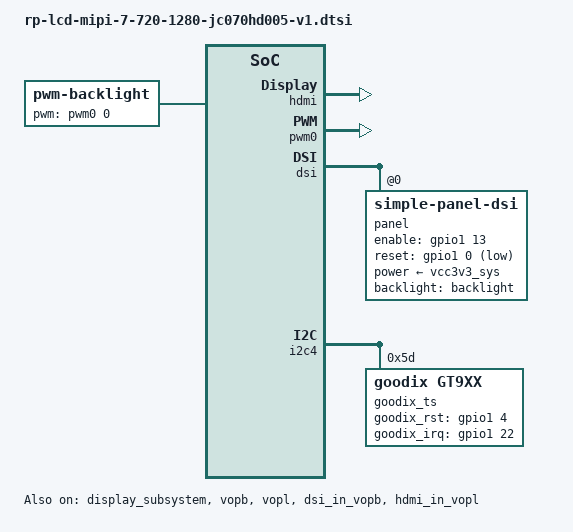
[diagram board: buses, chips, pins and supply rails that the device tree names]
/ {
	
	backlight: backlight {
		status = "okay";
		compatible = "pwm-backlight";
		pwms = <&pwm0 0 25000 0>;
		brightness-levels = <
			  0   1   2   3   4   5   6   7
			  8   9  10  11  12  13  14  15
			 16  17  18  19  20  21  22  23
			 24  25  26  27  28  29  30  31
			 32  33  34  35  36  37  38  39
			 40  41  42  43  44  45  46  47
			 48  49  50  51  52  53  54  55
			 56  57  58  59  60  61  62  63
			 64  65  66  67  68  69  70  71
			 72  73  74  75  76  77  78  79
			 80  81  82  83  84  85  86  87
			 88  89  90  91  92  93  94  95
			 96  97  98  99 100 101 102 103
			104 105 106 107 108 109 110 111
			112 113 114 115 116 117 118 119
			120 121 122 123 124 125 126 127
			128 129 130 131 132 133 134 135
			136 137 138 139 140 141 142 143
			144 145 146 147 148 149 150 151
			152 153 154 155 156 157 158 159
			160 161 162 163 164 165 166 167
			168 169 170 171 172 173 174 175
			176 177 178 179 180 181 182 183
			184 185 186 187 188 189 190 191
			192 193 194 195 196 197 198 199
			200 201 202 203 204 205 206 207
			208 209 210 211 212 213 214 215
			216 217 218 219 220 221 222 223
			224 225 226 227 228 229 230 231
			232 233 234 235 236 237 238 239
			240 241 242 243 244 245 246 247
			248 249 250 251 252 253 254 255>;
		default-brightness-level = <255>;
	};
};


&hdmi {
	#address-cells = <1>;
	#size-cells = <0>;
	#sound-dai-cells = <0>;
	ddc-i2c-scl-high-time-ns = <9625>;
	ddc-i2c-scl-low-time-ns = <10000>;
	status = "okay";
};

&pwm0 {
	status = "okay";
};


&display_subsystem {
	status = "okay";

	ports = <&vopb_out>, <&vopl_out>;
	logo-memory-region = <&drm_logo>;

	route {
		route_hdmi: route-hdmi {
			status = "okay";
			logo,uboot = "logo.bmp";
			logo,kernel = "logo_kernel.bmp";
			logo,mode = "center";
			charge_logo,mode = "center";
			connect = <&vopl_out_hdmi>;
		};

		route_dsi: route-dsi {

			status = "okay";
			// status = "disabled";
			logo,uboot = "logo.bmp";
			logo,kernel = "logo_kernel.bmp";
			logo,mode = "center";
			charge_logo,mode = "center";
			connect = <&vopb_out_dsi>;
		};

		route_dsi1: route-dsi1 {
			status = "disabled";
			logo,uboot = "logo.bmp";
			logo,kernel = "logo_kernel.bmp";
			logo,mode = "center";
			charge_logo,mode = "center";
			connect = <&vopl_out_dsi1>;
		};

		route_edp: route-edp {
			status = "disabled";
			logo,uboot = "logo.bmp";
			logo,kernel = "logo_kernel.bmp";
			logo,mode = "center";
			charge_logo,mode = "center";
			connect = <&vopb_out_edp>;
		};
	};
};

&dsi {
        status = "okay";
        rockchip,lane-rate = <480>;

        panel {
                compatible ="simple-panel-dsi";
                status = "okay";
                reg = <0>;
                power-supply = <&vcc3v3_sys>;
                backlight = <&backlight>;
                cmd_later_reset = <0>;
                enable-gpios = <&gpio1 13 GPIO_ACTIVE_HIGH>;
                reset-gpios  = <&gpio1 0 GPIO_ACTIVE_LOW>;
                dsi,flags = <(MIPI_DSI_MODE_VIDEO | MIPI_DSI_MODE_VIDEO_BURST |
                // MIPI_DSI_MODE_VIDEO_SYNC_PULSE)>;
                MIPI_DSI_MODE_LPM | MIPI_DSI_MODE_EOT_PACKET)>;	/** 7inch 720x1280 must this mode */
                dsi,format = <MIPI_DSI_FMT_RGB888>;
                //		bus-format = <MEDIA_BUS_FMT_RGB666_1X24>;
                dsi,lanes = <4>;
                reset-delay-ms = <100>;
                init-delay-ms = <100>;
                enable-delay-ms = <120>;
                disable-delay-ms = <50>;
                unprepare-delay-ms = <20>;
                
                width-mm = <68>;
                height-mm = <121>;

               panel-init-sequence = [
                        39 00 02 E0 00
                        39 00 02 E1 93
                        39 00 02 E2 65
                        39 00 02 E3 F8
                        39 00 02 80 03
                        39 00 02 E0 04
                        39 00 02 2D 03
                        39 00 02 E0 00
                        39 00 02 70 10
                        39 00 02 71 13
                        39 00 02 72 06
                        39 00 02 75 03
                                                            
                        39 00 02 E0 01
                        //39 00 02 4A 30
                        39 00 02 00 00
                        39 00 02 01 A0
                        39 00 02 03 00
                        39 00 02 04 A0
                        39 00 02 0A 07
                        39 00 02 0C 74
                        39 00 02 17 00
                        39 00 02 18 D7
                        39 00 02 19 01
                        39 00 02 1A 00
                        39 00 02 1B D7
                        39 00 02 1C 01
                        39 00 02 1F 74
                        39 00 02 20 19
                        39 00 02 21 19
                        39 00 02 22 0E
                        39 00 02 27 43
                                                            
                        39 00 02 37 09
                        39 00 02 38 04
                        39 00 02 39 08
                        39 00 02 3A 18
                        39 00 02 3B 18
                        39 00 02 3C 72
                        39 00 02 3E FF
                        39 00 02 3E FF
                        39 00 02 3F FF
                        39 00 02 40 04
                        39 00 02 41 A0
                        39 00 02 43 08
                        39 00 02 44 07
                        39 00 02 45 30
                        39 00 02 55 01
                        39 00 02 56 01
                        39 00 02 57 65
                        39 00 02 58 0A
                        39 00 02 59 0A
                        39 00 02 5A 28
                        39 00 02 5B 0F
                                                            
                        39 00 02 5D 7C
                        39 00 02 5E 5F
                        39 00 02 5F 4D
                        39 00 02 60 3F
                        39 00 02 61 39
                        39 00 02 62 29
                        39 00 02 63 2B
                        39 00 02 64 12
                        39 00 02 65 28
                        39 00 02 66 24
                        39 00 02 67 22
                        39 00 02 68 3E
                        39 00 02 69 2C
                        39 00 02 6A 33
                        39 00 02 6B 26
                        39 00 02 6C 23
                        39 00 02 6D 18
                        39 00 02 6E 09
                        39 00 02 6F 00
                        39 00 02 70 7C
                        39 00 02 71 5F
                        39 00 02 72 4D
                        39 00 02 73 3F
                        39 00 02 74 39
                        39 00 02 75 29
                        39 00 02 76 2B
                        39 00 02 77 12
                        39 00 02 78 28
                        39 00 02 79 24
                        39 00 02 7A 22
                        39 00 02 7B 3E
                        39 00 02 7C 2C
                        39 00 02 7D 33
                        39 00 02 7E 26
                        39 00 02 7F 23
                        39 00 02 80 18
                        39 00 02 81 09
                        39 00 02 82 00
                                                            
                        39 00 02 E0 02
                        39 00 02 00 37
                        39 00 02 01 17
                        39 00 02 02 0A
                        39 00 02 03 06
                        39 00 02 04 08
                        39 00 02 05 04
                        39 00 02 06 00
                        39 00 02 07 1F
                        39 00 02 08 1F
                        39 00 02 09 1F
                        39 00 02 0A 1F
                        39 00 02 0B 1F
                        39 00 02 0C 1F
                        39 00 02 0D 1F
                        39 00 02 0E 1F
                        39 00 02 0F 1F
                        39 00 02 10 3F
                        39 00 02 11 1F
                        39 00 02 12 1F
                        39 00 02 13 1E
                        39 00 02 14 10
                        39 00 02 15 1F
                                                            
                        39 00 02 16 37
                        39 00 02 17 17
                        39 00 02 18 0B
                        39 00 02 19 07
                        39 00 02 1A 09
                        39 00 02 1B 05
                        39 00 02 1C 01
                        39 00 02 1D 1F
                        39 00 02 1E 1F
                        39 00 02 1F 1F
                        39 00 02 20 1F
                        39 00 02 21 1F
                        39 00 02 22 1F
                        39 00 02 23 1F
                        39 00 02 24 1F
                        39 00 02 25 1F
                        39 00 02 26 1F
                        39 00 02 27 1F
                        39 00 02 28 1F
                        39 00 02 29 1E
                        39 00 02 2A 11
                        39 00 02 2B 1F
                        39 00 02 2C 37
                        39 00 02 2D 17
                        39 00 02 2E 05
                        39 00 02 2F 09
                        39 00 02 30 07
                        39 00 02 31 0B
                        39 00 02 32 11
                        39 00 02 33 1F
                        39 00 02 34 1F
                        39 00 02 35 1F
                        39 00 02 36 1F
                        39 00 02 37 1F
                        39 00 02 38 1F
                        39 00 02 39 1F
                        39 00 02 3A 1F
                        39 00 02 3B 1F
                        39 00 02 3C 3F
                        39 00 02 3D 1F
                        39 00 02 3E 1E
                        39 00 02 3F 1F
                        39 00 02 40 01
                                                            
                        39 00 02 41 1F
                        39 00 02 42 38
                        39 00 02 43 18
                        39 00 02 44 04
                        39 00 02 45 08
                        39 00 02 46 06
                        39 00 02 47 0A
                        39 00 02 48 10
                        39 00 02 49 1F
                        39 00 02 4A 1F
                        39 00 02 4B 1F
                        39 00 02 4C 1F
                        39 00 02 4D 1F
                        39 00 02 4E 1F
                        39 00 02 4F 1F
                        39 00 02 50 1F
                        39 00 02 51 1F
                        39 00 02 52 1F
                        39 00 02 53 1F
                        39 00 02 54 1E
                        39 00 02 55 1F
                        39 00 02 56 00
                        39 00 02 57 1F
                        39 00 02 58 10
                        39 00 02 59 00
                        39 00 02 5A 00
                        39 00 02 5B 10
                        39 00 02 5C 01
                        39 00 02 5D 50
                        39 00 02 5E 01
                        39 00 02 5F 02
                        39 00 02 60 30
                        39 00 02 61 01
                        39 00 02 62 02
                        39 00 02 63 06
                        39 00 02 64 6A
                        39 00 02 65 55
                        39 00 02 66 08
                        39 00 02 67 73
                        39 00 02 68 05
                        39 00 02 69 08
                        39 00 02 6A 6E
                        39 00 02 6B 00
                        39 00 02 6C 00
                        39 00 02 6D 00
                        39 00 02 6E 00
                        39 00 02 6F 88
                        39 00 02 70 00
                        39 00 02 71 00
                        39 00 02 72 06
                        39 00 02 73 7B
                        39 00 02 74 00
                        39 00 02 75 80
                        39 00 02 76 00
                        39 00 02 77 0D
                        39 00 02 78 18
                        39 00 02 79 00
                        39 00 02 7A 00
                        39 00 02 7B 00
                        39 00 02 7C 00
                        39 00 02 7D 03
                        39 00 02 7E 7B
                        39 00 02 E0 04
                        39 00 02 04 01
                        39 00 02 0E 38
                        39 00 02 2B 2B
                        39 00 02 2E 44
                        39 00 02 E0 00
                        39 00 02 E6 02
                        39 00 02 E6 02
                        //39 00 02 36 00
                        39 C8 02 11 00
                        39 C8 02 29 00
                        05 78 01 11//delay 120MS
                        05 78 01 29
                        //39 C8 02 35 00
                ];

                panel-exit-sequence = [
                        05 78 01 28
                        05 78 01 10
                ];

                display-timings {
                        native-mode = <&timing0>;
                        timing0: timing0 {
                                clock-frequency = <70000000>;
                                hactive = <720>;
                                vactive = <1280>;
                                hback-porch = <34>;
                                hfront-porch = <34>;
                                vback-porch = <6>;
                                vfront-porch = <20>;
                                hsync-len = <24>;
                                vsync-len = <3>;
                                hsync-active = <0>;
                                vsync-active = <0>;
                                de-active = <0>;
                                pixelclk-active = <0>;
                        };
                };
        };
};

&vopb {
    assigned-clocks = <&cru DCLK_VOP0_DIV>;
    assigned-clock-parents = <&cru PLL_CPLL>;
    //assigned-clock-parents = <&cru PLL_VPLL>;
    status = "okay";
};

&vopb_mmu {
        status = "okay";
};

&vopl {
    assigned-clocks = <&cru DCLK_VOP1_DIV>;
    assigned-clock-parents = <&cru PLL_VPLL>;
    //assigned-clock-parents = <&cru PLL_CPLL>;
    status = "okay";
};

&vopl_mmu {
        status = "okay";
};

&dsi_in_vopl { 
        status = "disabled"; 
}; 

&dsi_in_vopb {
	status = "okay";
}; 

&hdmi_in_vopb { 
        status = "disabled"; 
}; 
 
&hdmi_in_vopl {
	status = "okay";
};

&edp_in_vopb { 
        status = "disabled"; 
}; 
&edp_in_vopl { 
        status = "disabled"; 
}; 

&dsi1_in_vopb { 
        status = "disabled"; 
}; 
&dsi1_in_vopl { 
        status = "disabled"; 
};


//TP
&i2c4 {
        status = "okay";
        goodix_ts@5d {
        compatible = "goodix,gt9xx";
        reg = <0x5d>;
        gtp_resolution_x = <720>;
        gtp_resolution_y = <1280>;
        gtp_int_tarigger = <1>;
        gtp_change_x2y = <0>;
        gtp_overturn_x = <0>;
        gtp_overturn_y = <0>;
        gtp_send_cfg = <1>;
        gtp_touch_wakeup = <1>;
        goodix_rst_gpio = <&gpio1 4 GPIO_ACTIVE_HIGH>;
        goodix_irq_gpio = <&gpio1 22 IRQ_TYPE_EDGE_FALLING>;

		goodix,cfg-group0 = [
				57 58 02 00 04 05 35 00 01 08 32 0F 
				5A 32 03 05 00 00 00 00 02 00 00 18 
				1A 1E 14 8A 2A 0C 55 57 B5 06 00 00 
				00 20 33 1C 14 01 00 0F 00 2B FF 7F 
				19 46 32 3C 78 94 D5 02 08 00 00 04 
				98 40 00 8A 4A 00 80 55 00 77 61 00 
				6F 70 00 6F 00 00 00 00 F0 40 30 FF 
				FF 27 00 00 00 00 00 00 00 00 00 00 
				00 00 00 00 00 00 00 00 00 00 00 00 
				00 00 00 00 18 16 14 12 10 0E 0C 0A 
				08 06 04 02 FF FF FF FF FF FF FF FF 
				FF FF FF FF FF FF FF FF FF FF 24 22 
				21 20 1F 1E 1D 1C 18 16 00 02 04 06 
				08 0A 0F 10 12 13 FF FF FF FF FF FF 
				FF FF FF FF FF FF FF FF FF FF FF FF 
				FF FF FF FF 81 01];
			
	        goodix,cfg-group5 = [
				57 58 02 00 04 05 35 00 01 08 32 0F 
				5A 32 03 05 00 00 00 00 02 00 00 18 
				1A 1E 14 8A 2A 0C 55 57 B5 06 00 00 
				00 20 33 1C 14 01 00 0F 00 2B FF 7F 
				19 46 32 3C 78 94 D5 02 08 00 00 04 
				98 40 00 8A 4A 00 80 55 00 77 61 00 
				6F 70 00 6F 00 00 00 00 F0 40 30 FF 
				FF 27 00 00 00 00 00 00 00 00 00 00 
				00 00 00 00 00 00 00 00 00 00 00 00 
				00 00 00 00 18 16 14 12 10 0E 0C 0A 
				08 06 04 02 FF FF FF FF FF FF FF FF 
				FF FF FF FF FF FF FF FF FF FF 24 22 
				21 20 1F 1E 1D 1C 18 16 00 02 04 06 
				08 0A 0F 10 12 13 FF FF FF FF FF FF 
				FF FF FF FF FF FF FF FF FF FF FF FF 
				FF FF FF FF 81 01];	
                
        };
};
